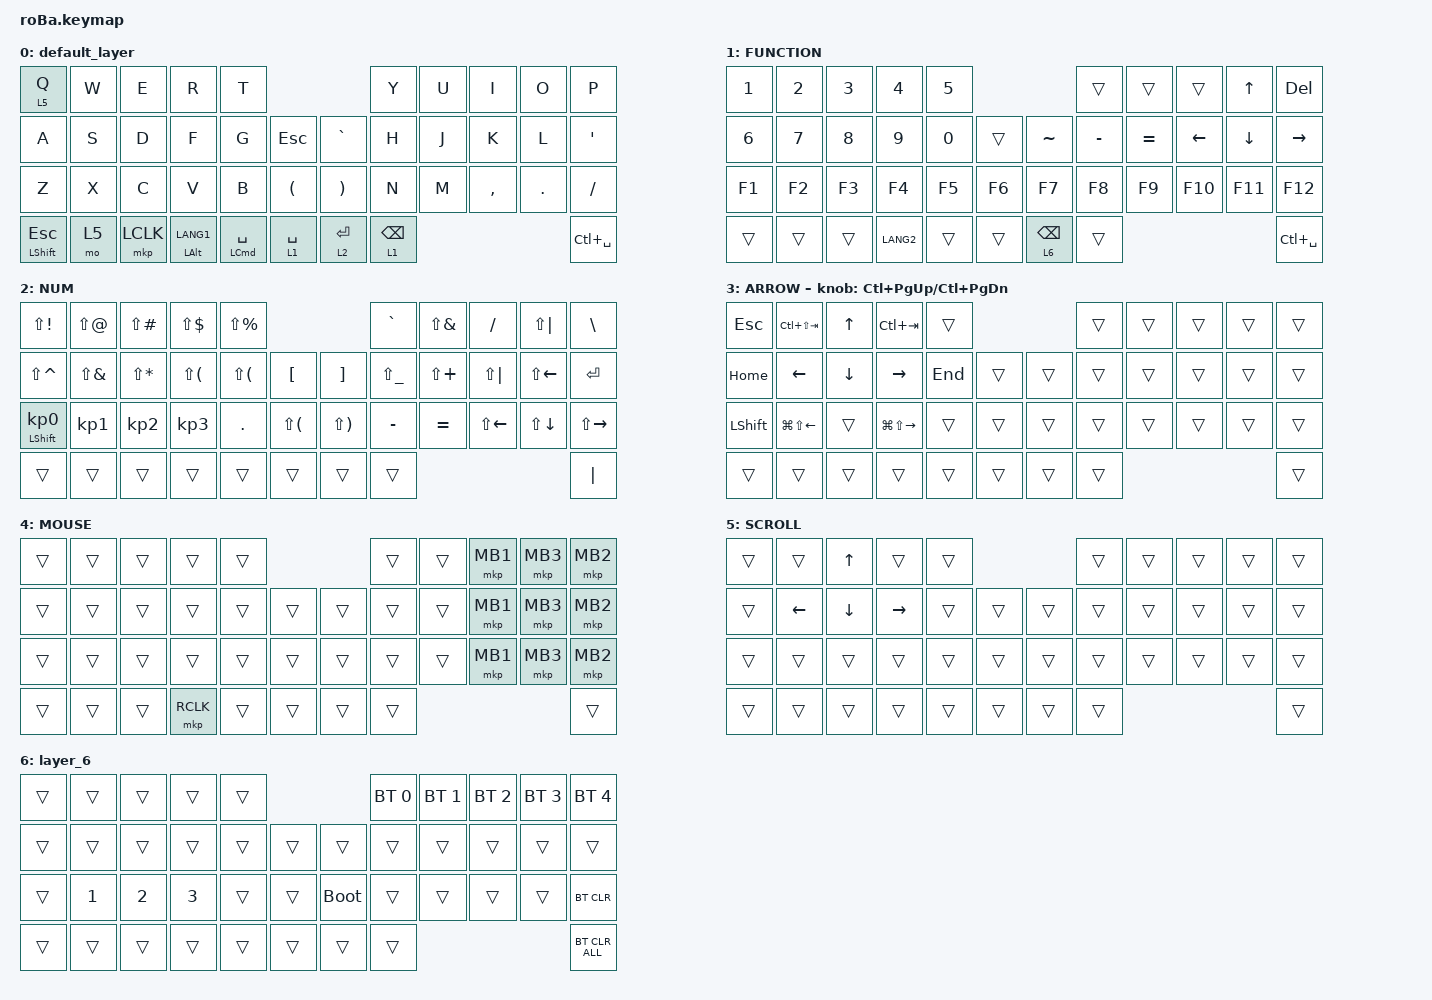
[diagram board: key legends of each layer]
#include <behaviors.dtsi>
#include <dt-bindings/zmk/bt.h>
#include <dt-bindings/zmk/keys.h>
#include <dt-bindings/zmk/pointing.h>

&mt {
    flavor = "balanced";
    quick-tap-ms = <0>;
};

/ {
    combos {
        compatible = "zmk,combos";

        tab {
            bindings = <&kp TAB>;
            key-positions = <11 12>;
        };

        shift_tab {
            bindings = <&kp LS(TAB)>;
            key-positions = <12 13>;
        };

        muhennkann {
            bindings = <&to_layer_0 INT_MUHENKAN>;
            key-positions = <11 10>;
        };

        double_quotation {
            bindings = <&kp DOUBLE_QUOTES>;
            key-positions = <20 21>;
        };

        eq {
            bindings = <&kp EQUAL>;
            key-positions = <24 25>;
        };
    };

    macros {
        to_layer_0: to_layer_0 {
            compatible = "zmk,behavior-macro-one-param";
            #binding-cells = <1>;
            bindings = <&to 0 &macro_param_1to1 &kp MACRO_PLACEHOLDER>;
            label = "TO_LAYER_0";
        };

        new_macro: new_macro {
            compatible = "zmk,behavior-macro";
            #binding-cells = <0>;
            bindings = <&kp SPACE &kp ENTER>;
            label = "NEW_MACRO";
        };
    };

    behaviors {
        lt_to_layer_0: lt_to_layer_0 {
            compatible = "zmk,behavior-hold-tap";
            label = "LAYER_TAP_TO_0";
            bindings = <&mo>, <&to_layer_0>;

            #binding-cells = <2>;
            tapping-term-ms = <200>;
        };

        holdTap: holdTap {
            compatible = "zmk,behavior-hold-tap";
            label = "HOLDTAP";
            bindings = <&kp>, <&kp>;

            #binding-cells = <2>;
            tapping-term-ms = <200>;
        };
    };

    keymap {
        compatible = "zmk,keymap";

        default_layer {
            bindings = <
&lt 5 Q                  &kp W  &kp E      &kp R                    &kp T                                                                           &kp Y            &kp U  &kp I      &kp O    &kp P
&kp A                    &kp S  &kp D      &kp F                    &kp G                        &kp ESC                     &kp GRAVE              &kp H            &kp J  &kp K      &kp L    &kp SQT
&kp Z                    &kp X  &kp C      &kp V                    &kp B                        &kp LEFT_PARENTHESIS        &kp RIGHT_PARENTHESIS  &kp N            &kp M  &kp COMMA  &kp DOT  &kp SLASH
&holdTap LEFT_SHIFT ESC  &mo 5  &mkp LCLK  &holdTap LEFT_ALT LANG1  &holdTap LEFT_COMMAND SPACE  &lt_to_layer_0 1 SPACE      &lt 2 ENTER            &lt 1 BACKSPACE                             &kp LC(SPACE)
            >;
        };

        FUNCTION {
            bindings = <
&kp NUMBER_1  &kp NUMBER_2  &kp NUMBER_3  &kp NUMBER_4  &kp N5                                          &trans     &trans     &trans    &kp UP_ARROW  &kp DEL
&kp NUMBER_6  &kp N7        &kp N8        &kp N9        &kp N0  &trans      &kp TILDE                   &kp MINUS  &kp EQUAL  &kp LEFT  &kp DOWN      &kp RIGHT
&kp F1        &kp F2        &kp F3        &kp F4        &kp F5  &kp F6      &kp F7                      &kp F8     &kp F9     &kp F10   &kp F11       &kp F12
&trans        &trans        &trans        &kp LANG2     &trans  &trans      &lt_to_layer_0 6 BACKSPACE  &trans                                        &kp LC(SPACE)
            >;
        };

        NUM {
            bindings = <
&kp LS(EXCL)                &kp LS(AT)       &kp LS(POUND)    &kp LS(DLLR)     &kp LS(PRCNT)                                  &kp GRAVE      &kp LS(AMPS)  &kp FSLH      &kp LS(PIPE)  &kp BSLH
&kp LS(CARET)               &kp LS(AMPS)     &kp LS(STAR)     &kp LS(LPAR)     &kp LS(LPAR)   &kp LBKT          &kp RBKT      &kp LS(UNDER)  &kp LS(PLUS)  &kp LS(PIPE)  &kp LS(LEFT)  &kp RET
&mt LEFT_SHIFT KP_NUMBER_0  &kp KP_NUMBER_1  &kp KP_NUMBER_2  &kp KP_NUMBER_3  &kp PERIOD     &kp LS(LPAR)      &kp LS(RPAR)  &kp MINUS      &kp EQUAL     &kp LS(LEFT)  &kp LS(DOWN)  &kp LS(RIGHT)
&trans                      &trans           &trans           &trans           &trans         &trans            &trans        &trans                                                   &kp PIPE
            >;
        };

        ARROW {
            bindings = <
&kp ESCAPE      &kp LC(LS(TAB))         &kp UP_ARROW    &kp LC(TAB)              &trans                       &trans  &trans  &trans  &trans  &trans
&kp HOME        &kp LEFT_ARROW          &kp DOWN_ARROW  &kp RIGHT_ARROW          &kp END  &trans      &trans  &trans  &trans  &trans  &trans  &trans
&kp LEFT_SHIFT  &kp LG(LS(LEFT_ARROW))  &trans          &kp LG(LS(RIGHT_ARROW))  &trans   &trans      &trans  &trans  &trans  &trans  &trans  &trans
&trans          &trans                  &trans          &trans                   &trans   &trans      &trans  &trans                          &trans
            >;

            sensor-bindings = <&inc_dec_kp LC(PAGE_UP) LC(PAGE_DOWN)>;
        };

        MOUSE {
            bindings = <
&trans  &trans  &trans  &trans     &trans                      &trans  &trans  &mkp MB1  &mkp MB3  &mkp MB2
&trans  &trans  &trans  &trans     &trans  &trans      &trans  &trans  &trans  &mkp MB1  &mkp MB3  &mkp MB2
&trans  &trans  &trans  &trans     &trans  &trans      &trans  &trans  &trans  &mkp MB1  &mkp MB3  &mkp MB2
&trans  &trans  &trans  &mkp RCLK  &trans  &trans      &trans  &trans                              &trans
            >;
        };

        SCROLL {
            bindings = <
&trans  &trans    &kp UP    &trans     &trans                      &trans  &trans  &trans  &trans  &trans
&trans  &kp LEFT  &kp DOWN  &kp RIGHT  &trans  &trans      &trans  &trans  &trans  &trans  &trans  &trans
&trans  &trans    &trans    &trans     &trans  &trans      &trans  &trans  &trans  &trans  &trans  &trans
&trans  &trans    &trans    &trans     &trans  &trans      &trans  &trans                          &trans
            >;
        };

        layer_6 {
            bindings = <
&trans  &trans        &trans        &trans        &trans                           &bt BT_SEL 0  &bt BT_SEL 1  &bt BT_SEL 2  &bt BT_SEL 3  &bt BT_SEL 4
&trans  &trans        &trans        &trans        &trans  &trans      &trans       &trans        &trans        &trans        &trans        &trans
&trans  &kp NUMBER_1  &kp NUMBER_2  &kp NUMBER_3  &trans  &trans      &bootloader  &trans        &trans        &trans        &trans        &bt BT_CLR
&trans  &trans        &trans        &trans        &trans  &trans      &trans       &trans                                                  &bt BT_CLR_ALL
            >;
        };
    };
};
